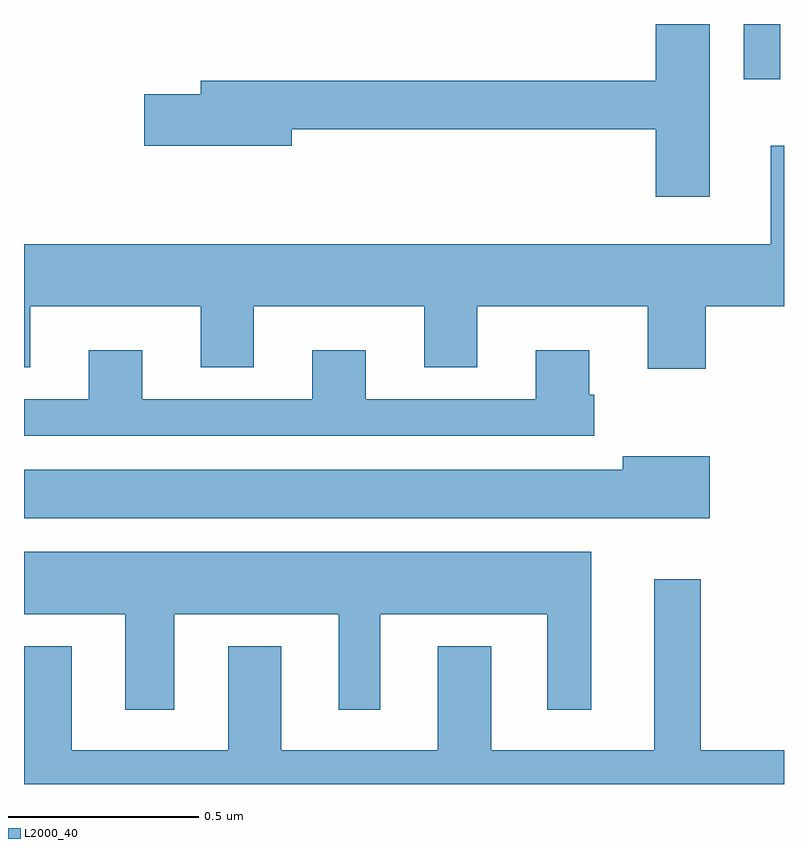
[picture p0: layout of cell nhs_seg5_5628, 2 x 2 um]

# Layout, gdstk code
import gdstk
lib = gdstk.Library(unit=1e-6, precision=1e-09)
def R(c, l, rs):  # rectangles x0, y0, x1, y1
    for r in rs: c.add(gdstk.rectangle(r[:2], r[2:], *l))
def P(c, l, *ps):  # polygons
    for p in ps: c.add(gdstk.Polygon(p, *l))
L2000_40 = (2000, 40)

nhs_seg5_5628 = lib.new_cell('nhs_seg5_5628')
R(nhs_seg5_5628, L2000_40, [(186.894,894.654,186.99,894.799)])
P(nhs_seg5_5628, L2000_40, [(186.805,894.799),(186.662,894.799),(186.662,894.65),(185.465,894.65),(185.465,894.614),(185.316,894.614),(185.316,894.479),(185.704,894.479),(185.704,894.522),(186.662,894.522),(186.662,894.345),(186.805,894.345)],
  [(186.794,894.056),(187,894.056),(187,894.478),(186.965,894.478),(186.965,894.22),(185,894.22),(185,893.896),(185.017,893.896),(185.017,894.056),(185.465,894.056),(185.465,893.896),(185.605,893.896),(185.605,894.056),(186.053,894.056),(186.053,893.896),(186.193,893.896),(186.193,894.056),(186.641,894.056),(186.641,893.892),(186.794,893.892)],
  [(186.5,893.823),(186.487,893.823),(186.487,893.941),(186.347,893.941),(186.347,893.811),(185.899,893.811),(185.899,893.941),(185.759,893.941),(185.759,893.811),(185.311,893.811),(185.311,893.941),(185.171,893.941),(185.171,893.811),(185,893.811),(185,893.715),(186.5,893.715)],
  [(186.805,893.662),(186.575,893.662),(186.575,893.626),(185,893.626),(185,893.498),(186.805,893.498)],
  [(185.395,893.246),(185.828,893.246),(185.828,892.995),(185.938,892.995),(185.938,893.246),(186.377,893.246),(186.377,892.995),(186.493,892.995),(186.493,893.41),(185,893.41),(185,893.246),(185.267,893.246),(185.267,892.995),(185.395,892.995)],
  [(187,892.888),(186.781,892.888),(186.781,893.338),(186.659,893.338),(186.659,892.888),(186.229,892.888),(186.229,893.161),(186.089,893.161),(186.089,892.888),(185.677,892.888),(185.677,893.161),(185.537,893.161),(185.537,892.888),(185.125,892.888),(185.125,893.161),(185,893.161),(185,892.799),(187,892.799)])

lib.write_gds('nhs_seg5_5628.gds')
